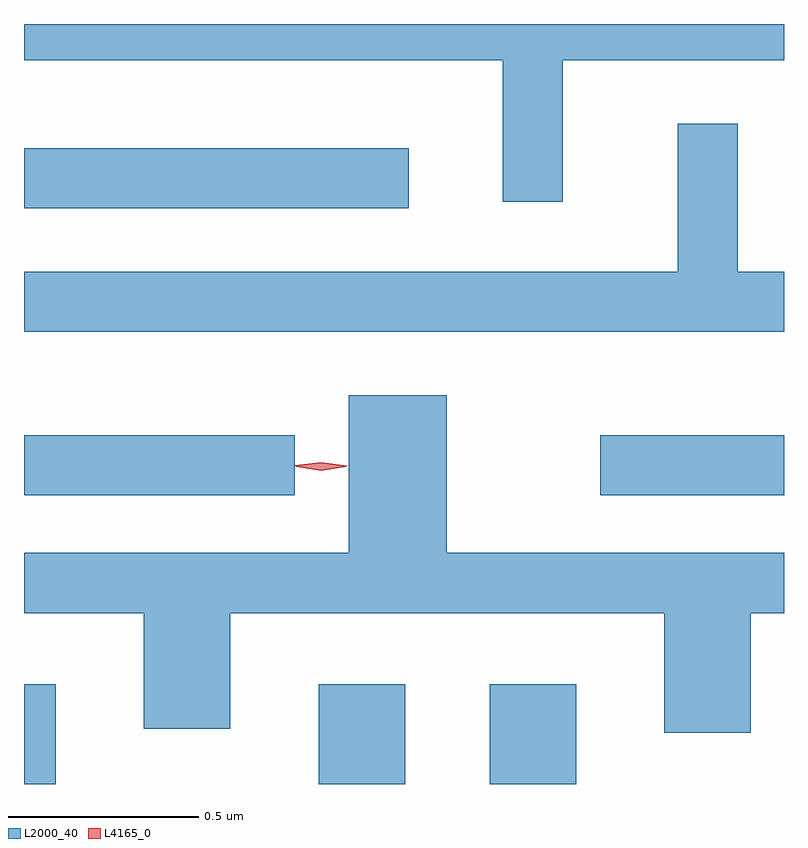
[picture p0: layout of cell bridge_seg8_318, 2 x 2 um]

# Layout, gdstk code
import gdstk
lib = gdstk.Library(unit=1e-6, precision=1e-09)
def R(c, l, rs):  # rectangles x0, y0, x1, y1
    for r in rs: c.add(gdstk.rectangle(r[:2], r[2:], *l))
def P(c, l, *ps):  # polygons
    for p in ps: c.add(gdstk.Polygon(p, *l))
L2000_40 = (2000, 40)
L4165_0 = (4165, 0)

bridge_seg8_318 = lib.new_cell('bridge_seg8_318')
R(bridge_seg8_318, L2000_40, [(965.706,1912.211,965.789,1912.474), (966.481,1912.211,966.709,1912.474), (966.931,1912.211,967.159,1912.474), (965.706,1912.971,966.418,1913.129), (967.223,1912.971,967.706,1913.129), (965.706,1913.726,966.718,1913.884)])
P(bridge_seg8_318, L2000_40, [(967.124,1914.116),(967.706,1914.116),(967.706,1914.211),(965.706,1914.211),(965.706,1914.116),(966.966,1914.116),(966.966,1913.743),(967.124,1913.743)],
  [(967.706,1913.559),(967.584,1913.559),(967.584,1913.948),(967.426,1913.948),(967.426,1913.559),(965.706,1913.559),(965.706,1913.401),(967.706,1913.401)],
  [(967.619,1912.661),(967.706,1912.661),(967.706,1912.819),(966.819,1912.819),(966.819,1913.234),(966.561,1913.234),(966.561,1912.819),(965.706,1912.819),(965.706,1912.661),(966.021,1912.661),(966.021,1912.356),(966.249,1912.356),(966.249,1912.661),(967.391,1912.661),(967.391,1912.346),(967.619,1912.346)])
P(bridge_seg8_318, L4165_0, [(966.488,1913.039),(966.419,1913.049),(966.419,1913.049),(966.419,1913.05),(966.488,1913.058),(966.556,1913.048),(966.556,1913.048),(966.556,1913.048)],
  [(966.488,1913.036),(966.423,1913.046),(966.422,1913.047),(966.423,1913.047),(966.488,1913.056),(966.554,1913.047),(966.554,1913.046),(966.554,1913.046)])

lib.write_gds('bridge_seg8_318.gds')
